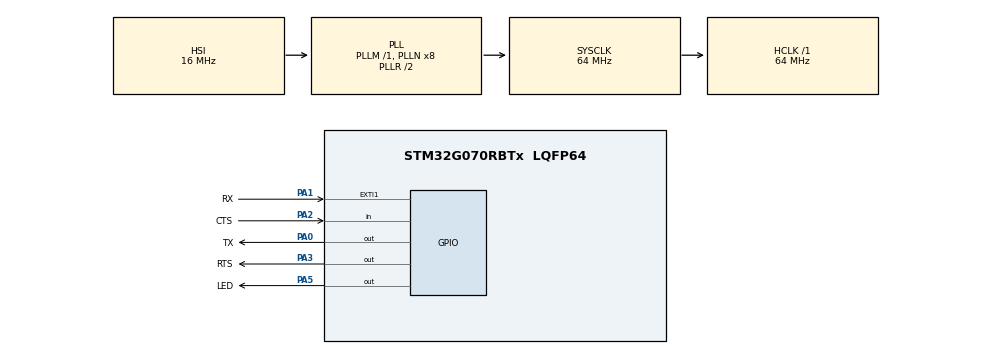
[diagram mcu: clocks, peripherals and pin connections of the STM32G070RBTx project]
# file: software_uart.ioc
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Mcu.Family=STM32G0
Mcu.Name=STM32G070RBTx
Mcu.Package=LQFP64
NVIC.EXTI0_1_IRQn=true\:0\:0\:false\:false\:true\:true\:true\:true
NVIC.TIM1_BRK_UP_TRG_COM_IRQn=true\:0\:0\:false\:false\:true\:true\:true\:true
PA0.GPIO_Label=TX
PA0.GPIO_Speed=GPIO_SPEED_FREQ_VERY_HIGH
PA0.PinState=GPIO_PIN_SET
PA0.Signal=GPIO_Output
PA1.GPIO_Label=RX
PA1.GPIO_ModeDefaultEXTI=GPIO_MODE_IT_FALLING
PA1.GPIO_PuPd=GPIO_PULLUP
PA1.Signal=GPXTI1
PA13.Mode=Serial_Wire
PA13.Signal=SYS_SWDIO
PA14-BOOT0.Mode=Serial_Wire
PA14-BOOT0.Signal=SYS_SWCLK
PA2.GPIO_Label=CTS
PA2.GPIO_PuPd=GPIO_PULLUP
PA2.Signal=GPIO_Input
PA3.GPIO_Label=RTS
PA3.GPIO_PuPd=GPIO_NOPULL
PA3.GPIO_Speed=GPIO_SPEED_FREQ_MEDIUM
PA3.Signal=GPIO_Output
PA5.GPIO_Label=LED
PA5.Signal=GPIO_Output
ProjectManager.HeapSize=0x200
ProjectManager.StackSize=0x400
ProjectManager.TargetToolchain=STM32CubeIDE
RCC.ADCFreq_Value=64000000
RCC.AHBFreq_Value=64000000
RCC.CortexFreq_Value=64000000
RCC.EXTERNAL_CLOCK_VALUE=48000
RCC.HCLKFreq_Value=64000000
RCC.HSE_VALUE=8000000
RCC.HSI_VALUE=16000000
RCC.LSE_VALUE=32768
RCC.SYSCLKFreq_VALUE=64000000
RCC.SYSCLKSource=RCC_SYSCLKSOURCE_PLLCLK
RCC.VCOOutputFreq_Value=128000000
TIM1.Prescaler=63
TIM3.Prescaler=63
VP_TIM1_VS_ClockSourceINT.Mode=Internal
VP_TIM3_VS_ClockSourceINT.Mode=Internal
board=custom

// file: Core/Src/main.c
/* USER CODE BEGIN Header */
/**
  ******************************************************************************
  * @file           : main.c
  * @brief          : Main program body
  ******************************************************************************
  * @attention
  *
  * Copyright (c) 2025 STMicroelectronics.
  * All rights reserved.
  *
  * This software is licensed under terms that can be found in the LICENSE file
  * in the root directory of this software component.
  * If no LICENSE file comes with this software, it is provided AS-IS.
  *
  ******************************************************************************
  */
/* USER CODE END Header */
#include "main.h"

/* USER CODE BEGIN Includes */
extern void uart_gpio_init(void);
extern void uart_timer_init(void);
#include "soft_uart.h"
#include "uart_ring_buffer.h"

/* USER CODE END Includes */

TIM_HandleTypeDef htim1;
TIM_HandleTypeDef htim3;

void SystemClock_Config(void);
static void MX_GPIO_Init(void);
static void MX_TIM1_Init(void);
static void MX_TIM3_Init(void);

int main(void)
{

  /* MCU Configuration--------------------------------------------------------*/

  /* Reset of all peripherals, Initializes the Flash interface and the Systick. */
  HAL_Init();

  /* Configure the system clock */
  SystemClock_Config();

  /* Initialize all configured peripherals */
  MX_GPIO_Init();
  MX_TIM1_Init();
  MX_TIM3_Init();
  /* USER CODE BEGIN 2 */
  uart_gpio_init();
  //uart_timer_init();
  HAL_TIM_Base_Start(&htim3);
  HAL_TIM_Base_Start(&htim1);
  /* USER CODE END 2 */

  /* Infinite loop */
  while (1)
  {

    /* USER CODE BEGIN 3 */
	  /* USER CODE BEGIN 3 */
	  uint8_t b;
	  if (uart_buf_pop(&b)) {
		  uart_send(b); // echo in buff
	  }

  }
  /* USER CODE END 3 */
}

void SystemClock_Config(void)
{
  RCC_OscInitTypeDef RCC_OscInitStruct = {0};
  RCC_ClkInitTypeDef RCC_ClkInitStruct = {0};

  /** Configure the main internal regulator output voltage
  */
  HAL_PWREx_ControlVoltageScaling(PWR_REGULATOR_VOLTAGE_SCALE1);

  /** Initializes the RCC Oscillators according to the specified parameters
  * in the RCC_OscInitTypeDef structure.
  */
  RCC_OscInitStruct.OscillatorType = RCC_OSCILLATORTYPE_HSI;
  RCC_OscInitStruct.HSIState = RCC_HSI_ON;
  RCC_OscInitStruct.HSIDiv = RCC_HSI_DIV1;
  RCC_OscInitStruct.HSICalibrationValue = RCC_HSICALIBRATION_DEFAULT;
  RCC_OscInitStruct.PLL.PLLState = RCC_PLL_ON;
  RCC_OscInitStruct.PLL.PLLSource = RCC_PLLSOURCE_HSI;
  RCC_OscInitStruct.PLL.PLLM = RCC_PLLM_DIV1;
  RCC_OscInitStruct.PLL.PLLN = 8;
  RCC_OscInitStruct.PLL.PLLP = RCC_PLLP_DIV2;
  RCC_OscInitStruct.PLL.PLLR = RCC_PLLR_DIV2;
  if (HAL_RCC_OscConfig(&RCC_OscInitStruct) != HAL_OK)
  {
    Error_Handler();
  }

  /** Initializes the CPU, AHB and APB buses clocks
  */
  RCC_ClkInitStruct.ClockType = RCC_CLOCKTYPE_HCLK|RCC_CLOCKTYPE_SYSCLK
                              |RCC_CLOCKTYPE_PCLK1;
  RCC_ClkInitStruct.SYSCLKSource = RCC_SYSCLKSOURCE_PLLCLK;
  RCC_ClkInitStruct.AHBCLKDivider = RCC_SYSCLK_DIV1;
  RCC_ClkInitStruct.APB1CLKDivider = RCC_HCLK_DIV1;

  if (HAL_RCC_ClockConfig(&RCC_ClkInitStruct, FLASH_LATENCY_2) != HAL_OK)
  {
    Error_Handler();
  }
}

static void MX_TIM1_Init(void)
{

  TIM_ClockConfigTypeDef sClockSourceConfig = {0};
  TIM_MasterConfigTypeDef sMasterConfig = {0};

  htim1.Instance = TIM1;
  htim1.Init.Prescaler = 63;
  htim1.Init.CounterMode = TIM_COUNTERMODE_UP;
  htim1.Init.Period = 65535;
  htim1.Init.ClockDivision = TIM_CLOCKDIVISION_DIV1;
  htim1.Init.RepetitionCounter = 0;
  htim1.Init.AutoReloadPreload = TIM_AUTORELOAD_PRELOAD_DISABLE;
  if (HAL_TIM_Base_Init(&htim1) != HAL_OK)
  {
    Error_Handler();
  }
  sClockSourceConfig.ClockSource = TIM_CLOCKSOURCE_INTERNAL;
  if (HAL_TIM_ConfigClockSource(&htim1, &sClockSourceConfig) != HAL_OK)
  {
    Error_Handler();
  }
  sMasterConfig.MasterOutputTrigger = TIM_TRGO_RESET;
  sMasterConfig.MasterOutputTrigger2 = TIM_TRGO2_RESET;
  sMasterConfig.MasterSlaveMode = TIM_MASTERSLAVEMODE_DISABLE;
  if (HAL_TIMEx_MasterConfigSynchronization(&htim1, &sMasterConfig) != HAL_OK)
  {
    Error_Handler();
  }

}

static void MX_TIM3_Init(void)
{

  TIM_ClockConfigTypeDef sClockSourceConfig = {0};
  TIM_MasterConfigTypeDef sMasterConfig = {0};

  htim3.Instance = TIM3;
  htim3.Init.Prescaler = 63;
  htim3.Init.CounterMode = TIM_COUNTERMODE_UP;
  htim3.Init.Period = 65535;
  htim3.Init.ClockDivision = TIM_CLOCKDIVISION_DIV1;
  htim3.Init.AutoReloadPreload = TIM_AUTORELOAD_PRELOAD_DISABLE;
  if (HAL_TIM_Base_Init(&htim3) != HAL_OK)
  {
    Error_Handler();
  }
  sClockSourceConfig.ClockSource = TIM_CLOCKSOURCE_INTERNAL;
  if (HAL_TIM_ConfigClockSource(&htim3, &sClockSourceConfig) != HAL_OK)
  {
    Error_Handler();
  }
  sMasterConfig.MasterOutputTrigger = TIM_TRGO_RESET;
  sMasterConfig.MasterSlaveMode = TIM_MASTERSLAVEMODE_DISABLE;
  if (HAL_TIMEx_MasterConfigSynchronization(&htim3, &sMasterConfig) != HAL_OK)
  {
    Error_Handler();
  }

}

static void MX_GPIO_Init(void)
{
  GPIO_InitTypeDef GPIO_InitStruct = {0};

  /* GPIO Ports Clock Enable */
  __HAL_RCC_GPIOA_CLK_ENABLE();

  /*Configure GPIO pin Output Level */
  HAL_GPIO_WritePin(TX_GPIO_Port, TX_Pin, GPIO_PIN_SET);

  /*Configure GPIO pin Output Level */
  HAL_GPIO_WritePin(GPIOA, RTS_Pin|LED_Pin, GPIO_PIN_RESET);

  /*Configure GPIO pin : TX_Pin */
  GPIO_InitStruct.Pin = TX_Pin;
  GPIO_InitStruct.Mode = GPIO_MODE_OUTPUT_PP;
  GPIO_InitStruct.Pull = GPIO_NOPULL;
  GPIO_InitStruct.Speed = GPIO_SPEED_FREQ_VERY_HIGH;
  HAL_GPIO_Init(TX_GPIO_Port, &GPIO_InitStruct);

  /*Configure GPIO pin : RX_Pin */
  GPIO_InitStruct.Pin = RX_Pin;
  GPIO_InitStruct.Mode = GPIO_MODE_IT_FALLING;
  GPIO_InitStruct.Pull = GPIO_PULLUP;
  HAL_GPIO_Init(RX_GPIO_Port, &GPIO_InitStruct);

  /*Configure GPIO pin : CTS_Pin */
  GPIO_InitStruct.Pin = CTS_Pin;
  GPIO_InitStruct.Mode = GPIO_MODE_INPUT;
  GPIO_InitStruct.Pull = GPIO_PULLUP;
  HAL_GPIO_Init(CTS_GPIO_Port, &GPIO_InitStruct);

  /*Configure GPIO pin : RTS_Pin */
  GPIO_InitStruct.Pin = RTS_Pin;
  GPIO_InitStruct.Mode = GPIO_MODE_OUTPUT_PP;
  GPIO_InitStruct.Pull = GPIO_NOPULL;
  GPIO_InitStruct.Speed = GPIO_SPEED_FREQ_MEDIUM;
  HAL_GPIO_Init(RTS_GPIO_Port, &GPIO_InitStruct);

  /*Configure GPIO pin : LED_Pin */
  GPIO_InitStruct.Pin = LED_Pin;
  GPIO_InitStruct.Mode = GPIO_MODE_OUTPUT_PP;
  GPIO_InitStruct.Pull = GPIO_NOPULL;
  GPIO_InitStruct.Speed = GPIO_SPEED_FREQ_LOW;
  HAL_GPIO_Init(LED_GPIO_Port, &GPIO_InitStruct);

  /* EXTI interrupt init*/
  HAL_NVIC_SetPriority(EXTI0_1_IRQn, 0, 0);
  HAL_NVIC_EnableIRQ(EXTI0_1_IRQn);

}

/* USER CODE BEGIN 4 */
void HAL_GPIO_EXTI_Falling_Callback(uint16_t GPIO_Pin) {
	if (GPIO_Pin == GPIO_PIN_1 && uart_receiving == 0) {
    	GPIOA->ODR ^= GPIO_PIN_5;// toggle led
        uart_start_receive();
    }
}

void HAL_TIM_PeriodElapsedCallback(TIM_HandleTypeDef *htim) {
    if (htim->Instance == TIM1) {
        uart_rx_sample_bit();
    }
}

/* USER CODE END 4 */

void Error_Handler(void)
{
  __disable_irq();
  while (1)
  {
  }
}
